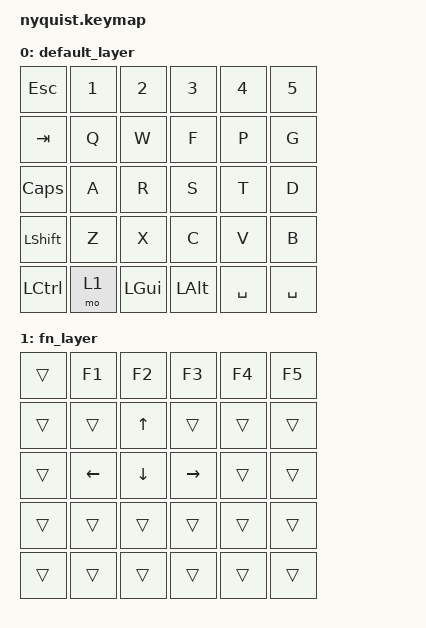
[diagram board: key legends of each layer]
#include <behaviors.dtsi>
#include <dt-bindings/zmk/keys.h>
#include <dt-bindings/zmk/bt.h>

/ {
    keymap {
        compatible = "zmk,keymap";

        default_layer {
            bindings = <
                &kp ESC    &kp N1   &kp N2   &kp N3    &kp N4    &kp N5
                &kp TAB    &kp Q    &kp W    &kp F     &kp P     &kp G
                &kp CAPS   &kp A    &kp R    &kp S     &kp T     &kp D
                &kp LSHFT  &kp Z    &kp X    &kp C     &kp V     &kp B
                &kp LCTRL  &mo 1    &kp LGUI &kp LALT  &kp SPACE &kp SPACE
            >;
        };

        fn_layer {
            bindings = <
                &trans  &kp F1    &kp F2    &kp F3    &kp F4  &kp F5
                &trans  &trans    &kp UP    &trans    &trans  &trans
                &trans  &kp LEFT  &kp DOWN  &kp RIGHT &trans  &trans
                &trans  &trans    &trans    &trans    &trans  &trans
                &trans  &trans    &trans    &trans    &trans  &trans
            >;
        };
    };
};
